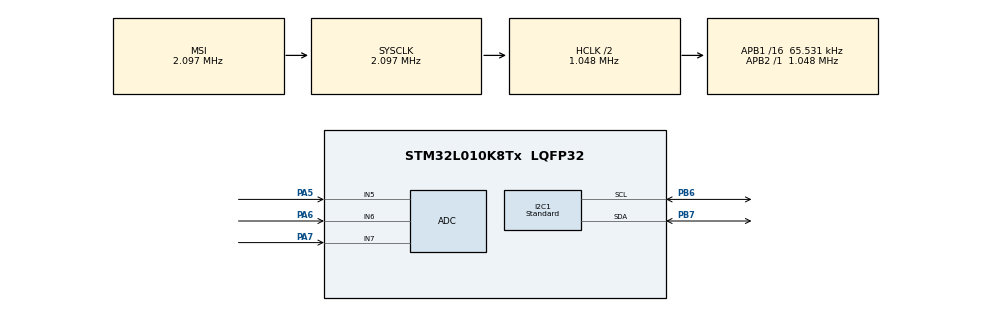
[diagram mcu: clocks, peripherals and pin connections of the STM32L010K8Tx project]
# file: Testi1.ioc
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ADC.ClockPrescaler=ADC_CLOCK_ASYNC_DIV64
ADC.ContinuousConvMode=DISABLE
ADC.DMAContinuousRequests=ENABLE
ADC.DiscontinuousConvMode=DISABLE
ADC.ExternalTrigConv=ADC_SOFTWARE_START
ADC.SamplingTime=ADC_SAMPLETIME_160CYCLES_5
Dma.ADC.0.Direction=DMA_PERIPH_TO_MEMORY
Dma.ADC.0.Instance=DMA1_Channel1
Dma.ADC.0.MemDataAlignment=DMA_MDATAALIGN_HALFWORD
Dma.ADC.0.MemInc=DMA_MINC_ENABLE
Dma.ADC.0.Mode=DMA_CIRCULAR
Dma.ADC.0.PeriphDataAlignment=DMA_PDATAALIGN_HALFWORD
Dma.ADC.0.PeriphInc=DMA_PINC_DISABLE
Dma.ADC.0.Priority=DMA_PRIORITY_LOW
Dma.Request0=ADC
I2C1.I2C_Speed_Mode=I2C_Standard
I2C1.Timing=0x00000000
Mcu.Family=STM32L0
Mcu.Name=STM32L010K8Tx
Mcu.Package=LQFP32
NVIC.ADC1_IRQn=true\:0\:0\:false\:false\:true\:true\:true\:true
NVIC.DMA1_Channel1_IRQn=true\:0\:0\:false\:false\:true\:false\:true\:true
PA13.Mode=Serial_Wire
PA13.Signal=SYS_SWDIO
PA14.Mode=Serial_Wire
PA14.Signal=SYS_SWCLK
PA5.Mode=IN5
PA5.Signal=ADC_IN5
PA6.Mode=IN6
PA6.Signal=ADC_IN6
PA7.Mode=IN7
PA7.Signal=ADC_IN7
PB6.Mode=I2C
PB6.Signal=I2C1_SCL
PB7.Mode=I2C
PB7.Signal=I2C1_SDA
ProjectManager.HeapSize=0x200
ProjectManager.StackSize=0x400
ProjectManager.TargetToolchain=STM32CubeIDE
RCC.AHBCLKDivider=RCC_SYSCLK_DIV2
RCC.AHBFreq_Value=1048500
RCC.APB1CLKDivider=RCC_HCLK_DIV16
RCC.APB1Freq_Value=65531.25
RCC.APB1TimFreq_Value=131062.5
RCC.APB2Freq_Value=1048500
RCC.APB2TimFreq_Value=1048500
RCC.HCLKFreq_Value=1048500
RCC.HSI16_VALUE=16000000
RCC.HSI_VALUE=16000000
RCC.LSE_VALUE=32768
RCC.MSI_VALUE=2097000
RCC.PWR_Regulator_Voltage_Scale=PWR_REGULATOR_VOLTAGE_SCALE1
RCC.SYSCLKFreq_VALUE=2097000
RCC.VCOOutputFreq_Value=48000000
board=custom

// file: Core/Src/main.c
/* USER CODE BEGIN Header */
/**
  ******************************************************************************
  * @file           : main.c
  * @brief          : Main program body
  ******************************************************************************
  * @attention
  *
  * Copyright (c) 2022 STMicroelectronics.
  * All rights reserved.
  *
  * This software is licensed under terms that can be found in the LICENSE file
  * in the root directory of this software component.
  * If no LICENSE file comes with this software, it is provided AS-IS.
  *
  ******************************************************************************
  */
/* USER CODE END Header */
#include "main.h"

/* USER CODE BEGIN Includes */
#include <stdio.h>
#include <stdlib.h>
#include <math.h>
/* USER CODE END Includes */

/* USER CODE BEGIN PD */
#define GROOVELCD_ADDR 0x3e<<1
#define ADC_BUF_LEN 4096
/* USER CODE END PD */

ADC_HandleTypeDef hadc;
DMA_HandleTypeDef hdma_adc;

I2C_HandleTypeDef hi2c1;

/* USER CODE BEGIN PV */
uint16_t value_adc[3];
/* USER CODE END PV */

void SystemClock_Config(void);
static void MX_GPIO_Init(void);
static void MX_DMA_Init(void);
static void MX_I2C1_Init(void);
static void MX_ADC_Init(void);

int main(void)
{

  /* MCU Configuration--------------------------------------------------------*/

  /* Reset of all peripherals, Initializes the Flash interface and the Systick. */
  HAL_Init();

  /* Configure the system clock */
  SystemClock_Config();

  /* Initialize all configured peripherals */
  MX_GPIO_Init();
  MX_DMA_Init();
  MX_I2C1_Init();
  MX_ADC_Init();
  /* USER CODE BEGIN 2 */

  uint8_t data_t [2];
  uint8_t data_u[2];
  data_t[0] = 0x80;
  data_t[1] = 0x28;
  HAL_I2C_Master_Transmit(&hi2c1, (uint16_t)GROOVELCD_ADDR, (uint8_t*)data_t, 2, 50);
  HAL_Delay(1);

  data_t[0] = 0x80;
  data_t[1] = 0x0C;
  HAL_I2C_Master_Transmit(&hi2c1, (uint16_t)GROOVELCD_ADDR, (uint8_t*)data_t, 2, 50);

  data_t[0] = 0x80;
  data_t[1] = 0x01;
  HAL_I2C_Master_Transmit(&hi2c1, (uint16_t)GROOVELCD_ADDR, (uint8_t*)data_t, 2, 50);

  data_t[0] = 0x80;
  data_t[1] = 0x06;
  HAL_I2C_Master_Transmit(&hi2c1, (uint16_t)GROOVELCD_ADDR, (uint8_t*)data_t, 2, 50);
  HAL_Delay(1);

  //ADC
  HAL_ADC_Start_DMA(&hadc, (uint32_t*)value_adc, 3);

  char *str = malloc (6);
  float f;
  /* USER CODE END 2 */

  /* Infinite loop */
  /* USER CODE BEGIN WHILE */
  while (1)
  {
	  HAL_ADCEx_Calibration_Start(&hadc, ADC_SINGLE_ENDED);

	  data_t[0] = 0x80;
	  data_t[1] = 0x03;
	  HAL_I2C_Master_Transmit(&hi2c1, (uint16_t)GROOVELCD_ADDR, (uint8_t*)data_t, 2, 50);
	  HAL_Delay(1);

	  Print(GROOVELCD_ADDR, "Q1:-");

	  HAL_ADC_Start(&hadc);

	  HAL_Delay(100);

	  f = value_adc[0]*0.000805860805861;
	  sprintf (str, "%.2f", f);

	  Print(GROOVELCD_ADDR, str);

	  f = value_adc[1]*0.000805860805861;
	  sprintf (str, "%.2f", f);

	  /*Shift to second line*/
	  data_t[0] = 0x80;
	  data_t[1] = 0xC0;
	  HAL_I2C_Master_Transmit(&hi2c1, (uint16_t)GROOVELCD_ADDR, (uint8_t*)data_t, 2, 50);
	  /**/

	  Print(GROOVELCD_ADDR, "Q2:-");
	  Print(GROOVELCD_ADDR, str);

	  f = value_adc[2]*0.000805860805861;
	  sprintf (str, "%.2f", f);

	  Print(GROOVELCD_ADDR, " V:-");
	  Print(GROOVELCD_ADDR, str);

	  HAL_ADC_Stop(&hadc);
	  //HAL_I2C_Master_Transmit(&hi2c1, (uint16_t)GROOVELCD_ADDR, (uint8_t*)data_u, 2, 50);
    /* USER CODE END WHILE */

  }
}

void SystemClock_Config(void)
{
  RCC_OscInitTypeDef RCC_OscInitStruct = {0};
  RCC_ClkInitTypeDef RCC_ClkInitStruct = {0};
  RCC_PeriphCLKInitTypeDef PeriphClkInit = {0};

  /** Configure the main internal regulator output voltage
  */
  __HAL_PWR_VOLTAGESCALING_CONFIG(PWR_REGULATOR_VOLTAGE_SCALE1);

  /** Initializes the RCC Oscillators according to the specified parameters
  * in the RCC_OscInitTypeDef structure.
  */
  RCC_OscInitStruct.OscillatorType = RCC_OSCILLATORTYPE_HSI|RCC_OSCILLATORTYPE_MSI;
  RCC_OscInitStruct.HSIState = RCC_HSI_ON;
  RCC_OscInitStruct.HSICalibrationValue = RCC_HSICALIBRATION_DEFAULT;
  RCC_OscInitStruct.MSIState = RCC_MSI_ON;
  RCC_OscInitStruct.MSICalibrationValue = 0;
  RCC_OscInitStruct.MSIClockRange = RCC_MSIRANGE_5;
  RCC_OscInitStruct.PLL.PLLState = RCC_PLL_NONE;
  if (HAL_RCC_OscConfig(&RCC_OscInitStruct) != HAL_OK)
  {
    Error_Handler();
  }

  /** Initializes the CPU, AHB and APB buses clocks
  */
  RCC_ClkInitStruct.ClockType = RCC_CLOCKTYPE_HCLK|RCC_CLOCKTYPE_SYSCLK
                              |RCC_CLOCKTYPE_PCLK1|RCC_CLOCKTYPE_PCLK2;
  RCC_ClkInitStruct.SYSCLKSource = RCC_SYSCLKSOURCE_MSI;
  RCC_ClkInitStruct.AHBCLKDivider = RCC_SYSCLK_DIV2;
  RCC_ClkInitStruct.APB1CLKDivider = RCC_HCLK_DIV16;
  RCC_ClkInitStruct.APB2CLKDivider = RCC_HCLK_DIV1;

  if (HAL_RCC_ClockConfig(&RCC_ClkInitStruct, FLASH_LATENCY_0) != HAL_OK)
  {
    Error_Handler();
  }
  PeriphClkInit.PeriphClockSelection = RCC_PERIPHCLK_I2C1;
  PeriphClkInit.I2c1ClockSelection = RCC_I2C1CLKSOURCE_PCLK1;
  if (HAL_RCCEx_PeriphCLKConfig(&PeriphClkInit) != HAL_OK)
  {
    Error_Handler();
  }
}

static void MX_ADC_Init(void)
{

  ADC_ChannelConfTypeDef sConfig = {0};

  /** Configure the global features of the ADC (Clock, Resolution, Data Alignment and number of conversion)
  */
  hadc.Instance = ADC1;
  hadc.Init.OversamplingMode = DISABLE;
  hadc.Init.ClockPrescaler = ADC_CLOCK_ASYNC_DIV64;
  hadc.Init.Resolution = ADC_RESOLUTION_12B;
  hadc.Init.SamplingTime = ADC_SAMPLETIME_160CYCLES_5;
  hadc.Init.ScanConvMode = ADC_SCAN_DIRECTION_FORWARD;
  hadc.Init.DataAlign = ADC_DATAALIGN_RIGHT;
  hadc.Init.ContinuousConvMode = DISABLE;
  hadc.Init.DiscontinuousConvMode = DISABLE;
  hadc.Init.ExternalTrigConvEdge = ADC_EXTERNALTRIGCONVEDGE_NONE;
  hadc.Init.ExternalTrigConv = ADC_SOFTWARE_START;
  hadc.Init.DMAContinuousRequests = ENABLE;
  hadc.Init.EOCSelection = ADC_EOC_SINGLE_CONV;
  hadc.Init.Overrun = ADC_OVR_DATA_PRESERVED;
  hadc.Init.LowPowerAutoWait = DISABLE;
  hadc.Init.LowPowerFrequencyMode = ENABLE;
  hadc.Init.LowPowerAutoPowerOff = DISABLE;
  if (HAL_ADC_Init(&hadc) != HAL_OK)
  {
    Error_Handler();
  }

  /** Configure for the selected ADC regular channel to be converted.
  */
  sConfig.Channel = ADC_CHANNEL_5;
  sConfig.Rank = ADC_RANK_CHANNEL_NUMBER;
  if (HAL_ADC_ConfigChannel(&hadc, &sConfig) != HAL_OK)
  {
    Error_Handler();
  }

  /** Configure for the selected ADC regular channel to be converted.
  */
  sConfig.Channel = ADC_CHANNEL_6;
  if (HAL_ADC_ConfigChannel(&hadc, &sConfig) != HAL_OK)
  {
    Error_Handler();
  }

  /** Configure for the selected ADC regular channel to be converted.
  */
  sConfig.Channel = ADC_CHANNEL_7;
  if (HAL_ADC_ConfigChannel(&hadc, &sConfig) != HAL_OK)
  {
    Error_Handler();
  }

}

static void MX_I2C1_Init(void)
{

  hi2c1.Instance = I2C1;
  hi2c1.Init.Timing = 0x00000000;
  hi2c1.Init.OwnAddress1 = 0;
  hi2c1.Init.AddressingMode = I2C_ADDRESSINGMODE_7BIT;
  hi2c1.Init.DualAddressMode = I2C_DUALADDRESS_DISABLE;
  hi2c1.Init.OwnAddress2 = 0;
  hi2c1.Init.OwnAddress2Masks = I2C_OA2_NOMASK;
  hi2c1.Init.GeneralCallMode = I2C_GENERALCALL_DISABLE;
  hi2c1.Init.NoStretchMode = I2C_NOSTRETCH_DISABLE;
  if (HAL_I2C_Init(&hi2c1) != HAL_OK)
  {
    Error_Handler();
  }

  /** Configure Analogue filter
  */
  if (HAL_I2CEx_ConfigAnalogFilter(&hi2c1, I2C_ANALOGFILTER_ENABLE) != HAL_OK)
  {
    Error_Handler();
  }

  /** Configure Digital filter
  */
  if (HAL_I2CEx_ConfigDigitalFilter(&hi2c1, 0) != HAL_OK)
  {
    Error_Handler();
  }

}

static void MX_DMA_Init(void)
{

  /* DMA controller clock enable */
  __HAL_RCC_DMA1_CLK_ENABLE();

  /* DMA interrupt init */
  /* DMA1_Channel1_IRQn interrupt configuration */
  HAL_NVIC_SetPriority(DMA1_Channel1_IRQn, 0, 0);
  HAL_NVIC_EnableIRQ(DMA1_Channel1_IRQn);

}

static void MX_GPIO_Init(void)
{

  /* GPIO Ports Clock Enable */
  __HAL_RCC_GPIOA_CLK_ENABLE();
  __HAL_RCC_GPIOB_CLK_ENABLE();

}

/* USER CODE BEGIN 4 */
void Print(uint16_t addre, uint8_t *str)
{
	uint8_t data_a[strlen(str)];
	data_a[0] = 0x40;
	int i;
	for(i=0; str[i]!=0; i++)
	{
		data_a[1+i] = str[i];
	}
	HAL_I2C_Master_Transmit(&hi2c1, (uint16_t)addre, (uint8_t*)data_a, 1+strlen(str), 50);
}

/* USER CODE END 4 */

void Error_Handler(void)
{
  __disable_irq();
  while (1)
  {
  }
}
